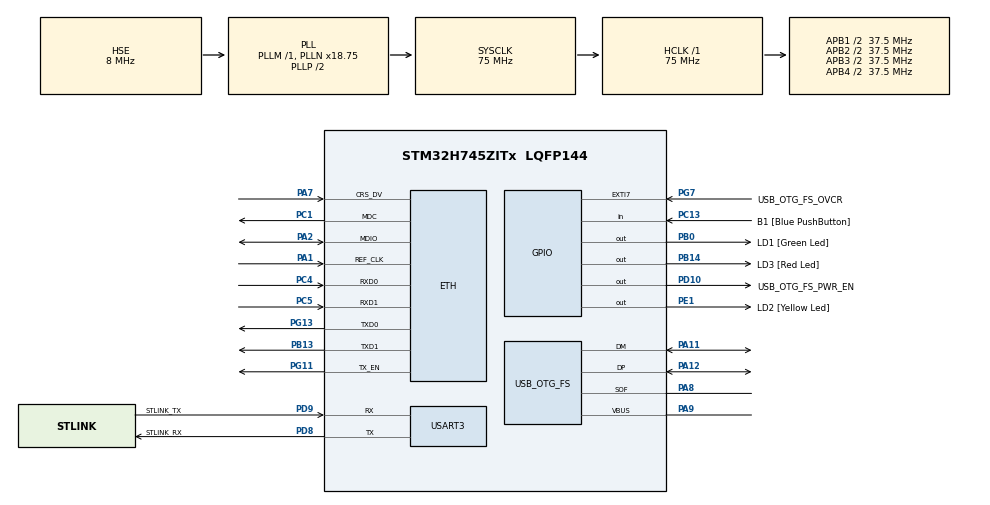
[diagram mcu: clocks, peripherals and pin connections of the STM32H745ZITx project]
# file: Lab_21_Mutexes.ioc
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CortexM4.IPs=FATFS_M4\:I,FREERTOS_M4\:I,IWDG2\:I,RCC,WWDG2\:I,DMA,BDMA,MDMA,NVIC2\:I,USART3,ETH,DEBUG,USB_DEVICE_M4\:I,USB_HOST_M4\:I,PDM2PCM_M4\:I,PWR,RESMGR_UTILITY,SYS_M4\:I,CORTEX_M4\:I,OPENAMP_M4\:I,VREFBUF,GPIO
CortexM7.IPs=FATFS_M7\:I,FREERTOS_M7\:I,IWDG1\:I,RCC\:I,WWDG1\:I,DMA\:I,BDMA\:I,MDMA\:I,NVIC1\:I,SYS\:I,USART3\:I,USB_OTG_FS\:I,ETH\:I,CORTEX_M7\:I,DEBUG\:I,USB_DEVICE_M7\:I,USB_HOST_M7\:I,PDM2PCM_M7\:I,PWR\:I,RESMGR_UTILITY\:I,OPENAMP_M7\:I,VREFBUF\:I,GPIO\:I,TIM4\:I
CortexM7.Pins=PB0
ETH.MediaInterface=HAL_ETH_RMII_MODE
FREERTOS_M7.Mutexes01=LED_Mutex,Dynamic,NULL
FREERTOS_M7.Tasks01=defaultTask,24,128,StartDefaultTask,Default,NULL,Dynamic,NULL,NULL;THREAD1,24,128,LED_Thread1,Default,NULL,Dynamic,NULL,NULL;THREAD2,8,128,LED_Thread2,Default,NULL,Dynamic,NULL,NULL
FREERTOS_M7.configUSE_NEWLIB_REENTRANT=1
Mcu.Family=STM32H7
Mcu.Name=STM32H745ZITx
Mcu.Package=LQFP144
NVIC1.PriorityGroup=NVIC_PRIORITYGROUP_4
NVIC1.TIM4_IRQn=true\:15\:0\:false\:false\:true\:false\:false\:true\:true
NVIC1.TimeBase=TIM4_IRQn
NVIC1.TimeBaseIP=TIM4
NVIC2.PriorityGroup=NVIC_PRIORITYGROUP_4
PA1.Mode=RMII
PA1.PinAttribute=CortexM7
PA1.Signal=ETH_REF_CLK
PA11.Mode=Device_Only
PA11.PinAttribute=CortexM7
PA11.Signal=USB_OTG_FS_DM
PA12.Mode=Device_Only
PA12.PinAttribute=CortexM7
PA12.Signal=USB_OTG_FS_DP
PA2.Mode=RMII
PA2.PinAttribute=CortexM7
PA2.Signal=ETH_MDIO
PA7.Mode=RMII
PA7.PinAttribute=CortexM7
PA7.Signal=ETH_CRS_DV
PA8.Mode=Activate_SOF_FS
PA8.PinAttribute=CortexM7
PA8.Signal=USB_OTG_FS_SOF
PA9.Mode=Activate_VBUS
PA9.PinAttribute=CortexM7
PA9.Signal=USB_OTG_FS_VBUS
PB0.GPIO_Label=LD1 [Green Led]
PB0.PinAttribute=CortexM7
PB0.Signal=GPIO_Output
PB13.Mode=RMII
PB13.PinAttribute=CortexM7
PB13.Signal=ETH_TXD1
PB14.GPIO_Label=LD3 [Red Led]
PB14.PinAttribute=Free
PB14.Signal=GPIO_Output
PC1.Mode=RMII
PC1.PinAttribute=CortexM7
PC1.Signal=ETH_MDC
PC13.GPIO_Label=B1 [Blue PushButton]
PC13.PinAttribute=Free
PC13.Signal=GPIO_Input
PC14-OSC32_IN\ (OSC32_IN).Mode=LSE-External-Oscillator
PC14-OSC32_IN\ (OSC32_IN).PinAttribute=CortexM7
PC14-OSC32_IN\ (OSC32_IN).Signal=RCC_OSC32_IN
PC15-OSC32_OUT\ (OSC32_OUT).Mode=LSE-External-Oscillator
PC15-OSC32_OUT\ (OSC32_OUT).PinAttribute=CortexM7
PC15-OSC32_OUT\ (OSC32_OUT).Signal=RCC_OSC32_OUT
PC4.Mode=RMII
PC4.PinAttribute=CortexM7
PC4.Signal=ETH_RXD0
PC5.Mode=RMII
PC5.PinAttribute=CortexM7
PC5.Signal=ETH_RXD1
PD10.GPIO_Label=USB_OTG_FS_PWR_EN
PD10.PinAttribute=Free
PD10.Signal=GPIO_Output
PD8.GPIO_Label=STLINK_RX
PD8.Mode=Asynchronous
PD8.PinAttribute=CortexM7
PD8.Signal=USART3_TX
PD9.GPIO_Label=STLINK_TX
PD9.Mode=Asynchronous
PD9.PinAttribute=CortexM7
PD9.Signal=USART3_RX
PE1.GPIO_Label=LD2 [Yellow Led]
PE1.PinAttribute=Free
PE1.Signal=GPIO_Output
PG11.Mode=RMII
PG11.PinAttribute=CortexM7
PG11.Signal=ETH_TX_EN
PG13.Mode=RMII
PG13.PinAttribute=CortexM7
PG13.Signal=ETH_TXD0
PG7.GPIO_Label=USB_OTG_FS_OVCR
PG7.PinAttribute=Free
PG7.Signal=GPXTI7
PH0-OSC_IN\ (PH0).Mode=HSE-External-Clock-Source
PH0-OSC_IN\ (PH0).PinAttribute=CortexM7
PH0-OSC_IN\ (PH0).Signal=RCC_OSC_IN
PH1-OSC_OUT\ (PH1).PinAttribute=CortexM7
PH1-OSC_OUT\ (PH1).Signal=RCC_OSC_OUT
ProjectManager.HeapSize=M4-0x200,M7-0x200
ProjectManager.StackSize=M4-0x400,M7-0x400
ProjectManager.TargetToolchain=STM32CubeIDE
RCC.ADCFreq_Value=16125000
RCC.APB1Freq_Value=37500000
RCC.APB2Freq_Value=37500000
RCC.APB3Freq_Value=37500000
RCC.APB4Freq_Value=37500000
RCC.CortexFreq_Value=75000000
RCC.D1PPRE=RCC_APB3_DIV2
RCC.D2PPRE1=RCC_APB1_DIV2
RCC.D2PPRE2=RCC_APB2_DIV2
RCC.D3PPRE=RCC_APB4_DIV2
RCC.DIVM1=1
RCC.DIVM3=1
RCC.DIVN1=18
RCC.DIVN3=18
RCC.DIVQ3=3
RCC.HCLKFreq_Value=75000000
RCC.HSE_VALUE=8000000
RCC.PLL2FRACN=0
RCC.PLL3FRACN=6144
RCC.PLLFRACN=6144
RCC.SYSCLKFreq_VALUE=75000000
RCC.SYSCLKSource=RCC_SYSCLKSOURCE_PLLCLK
RCC.SupplySource=PWR_DIRECT_SMPS_SUPPLY
RCC.USBCLockSelection=RCC_USBCLKSOURCE_PLL3
RCC.USBFreq_Value=50000000
USART3.VirtualMode-Asynchronous=VM_ASYNC
USB_OTG_FS.VirtualMode=Device_Only
VP_FREERTOS_M7_VS_CMSIS_V2.Mode=CMSIS_V2
VP_SYS_M4_VS_Systick.Mode=SysTick
VP_SYS_VS_tim4.Mode=TIM4
board=NUCLEO-H745ZI-Q

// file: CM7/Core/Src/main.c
/* USER CODE BEGIN Header */
/**
  ******************************************************************************
  * @file           : main.c
  * @brief          : Main program body
  ******************************************************************************
  * @attention
  *
  * Copyright (c) 2025 STMicroelectronics.
  * All rights reserved.
  *
  * This software is licensed under terms that can be found in the LICENSE file
  * in the root directory of this software component.
  * If no LICENSE file comes with this software, it is provided AS-IS.
  *
  ******************************************************************************
  */
/* USER CODE END Header */
#include "main.h"
#include "string.h"
#include "cmsis_os.h"

/* USER CODE BEGIN PD */

#ifndef HSEM_ID_0
#define HSEM_ID_0 (0U) /* HW semaphore 0*/
#endif
/* USER CODE END PD */

#if defined ( __ICCARM__ ) /*!< IAR Compiler */
#pragma location=0x30000000
ETH_DMADescTypeDef  DMARxDscrTab[ETH_RX_DESC_CNT]; /* Ethernet Rx DMA Descriptors */
#pragma location=0x30000200
ETH_DMADescTypeDef  DMATxDscrTab[ETH_TX_DESC_CNT]; /* Ethernet Tx DMA Descriptors */

#elif defined ( __CC_ARM )  /* MDK ARM Compiler */

__attribute__((at(0x30000000))) ETH_DMADescTypeDef  DMARxDscrTab[ETH_RX_DESC_CNT]; /* Ethernet Rx DMA Descriptors */
__attribute__((at(0x30000200))) ETH_DMADescTypeDef  DMATxDscrTab[ETH_TX_DESC_CNT]; /* Ethernet Tx DMA Descriptors */

#elif defined ( __GNUC__ ) /* GNU Compiler */
ETH_DMADescTypeDef DMARxDscrTab[ETH_RX_DESC_CNT] __attribute__((section(".RxDecripSection"))); /* Ethernet Rx DMA Descriptors */
ETH_DMADescTypeDef DMATxDscrTab[ETH_TX_DESC_CNT] __attribute__((section(".TxDecripSection")));   /* Ethernet Tx DMA Descriptors */

#endif

ETH_TxPacketConfig TxConfig;

ETH_HandleTypeDef heth;

UART_HandleTypeDef huart3;

PCD_HandleTypeDef hpcd_USB_OTG_FS;

/* Definitions for defaultTask */
osThreadId_t defaultTaskHandle;
const osThreadAttr_t defaultTask_attributes = {
  .name = "defaultTask",
  .stack_size = 128 * 4,
  .priority = (osPriority_t) osPriorityNormal,
};
/* Definitions for THREAD1 */
osThreadId_t THREAD1Handle;
const osThreadAttr_t THREAD1_attributes = {
  .name = "THREAD1",
  .stack_size = 128 * 4,
  .priority = (osPriority_t) osPriorityNormal,
};
/* Definitions for THREAD2 */
osThreadId_t THREAD2Handle;
const osThreadAttr_t THREAD2_attributes = {
  .name = "THREAD2",
  .stack_size = 128 * 4,
  .priority = (osPriority_t) osPriorityLow,
};
/* Definitions for LED_Mutex */
osMutexId_t LED_MutexHandle;
const osMutexAttr_t LED_Mutex_attributes = {
  .name = "LED_Mutex"
};

void SystemClock_Config(void);
static void MX_GPIO_Init(void);
static void MX_ETH_Init(void);
static void MX_USART3_UART_Init(void);
static void MX_USB_OTG_FS_PCD_Init(void);
void StartDefaultTask(void *argument);
void LED_Thread1(void *argument);
void LED_Thread2(void *argument);

int main(void)
{
/* USER CODE BEGIN Boot_Mode_Sequence_0 */
  int32_t timeout;
/* USER CODE END Boot_Mode_Sequence_0 */

/* USER CODE BEGIN Boot_Mode_Sequence_1 */
  /* Wait until CPU2 boots and enters in stop mode or timeout*/
  timeout = 0xFFFF;
  while((__HAL_RCC_GET_FLAG(RCC_FLAG_D2CKRDY) != RESET) && (timeout-- > 0));
  if ( timeout < 0 )
  {
  Error_Handler();
  }
/* USER CODE END Boot_Mode_Sequence_1 */
  /* MCU Configuration--------------------------------------------------------*/

  /* Reset of all peripherals, Initializes the Flash interface and the Systick. */
  HAL_Init();

  /* Configure the system clock */
  SystemClock_Config();
/* USER CODE BEGIN Boot_Mode_Sequence_2 */
/* When system initialization is finished, Cortex-M7 will release Cortex-M4 by means of
HSEM notification */
/*HW semaphore Clock enable*/
__HAL_RCC_HSEM_CLK_ENABLE();
/*Take HSEM */
HAL_HSEM_FastTake(HSEM_ID_0);
/*Release HSEM in order to notify the CPU2(CM4)*/
HAL_HSEM_Release(HSEM_ID_0,0);
/* wait until CPU2 wakes up from stop mode */
timeout = 0xFFFF;
while((__HAL_RCC_GET_FLAG(RCC_FLAG_D2CKRDY) == RESET) && (timeout-- > 0));
if ( timeout < 0 )
{
Error_Handler();
}
/* USER CODE END Boot_Mode_Sequence_2 */

  /* Initialize all configured peripherals */
  MX_GPIO_Init();
  MX_ETH_Init();
  MX_USART3_UART_Init();
  MX_USB_OTG_FS_PCD_Init();

  /* Init scheduler */
  osKernelInitialize();
  /* Create the mutex(es) */
  /* creation of LED_Mutex */
  LED_MutexHandle = osMutexNew(&LED_Mutex_attributes);

  /* Create the thread(s) */
  /* creation of defaultTask */
  defaultTaskHandle = osThreadNew(StartDefaultTask, NULL, &defaultTask_attributes);

  /* creation of THREAD1 */
  THREAD1Handle = osThreadNew(LED_Thread1, NULL, &THREAD1_attributes);

  /* creation of THREAD2 */
  THREAD2Handle = osThreadNew(LED_Thread2, NULL, &THREAD2_attributes);

  /* Start scheduler */
  osKernelStart();

  /* We should never get here as control is now taken by the scheduler */
  /* Infinite loop */
  while (1)
  {

  }
}

void SystemClock_Config(void)
{
  RCC_OscInitTypeDef RCC_OscInitStruct = {0};
  RCC_ClkInitTypeDef RCC_ClkInitStruct = {0};

  /** Supply configuration update enable
  */
  HAL_PWREx_ConfigSupply(PWR_DIRECT_SMPS_SUPPLY);

  /** Configure the main internal regulator output voltage
  */
  __HAL_PWR_VOLTAGESCALING_CONFIG(PWR_REGULATOR_VOLTAGE_SCALE3);

  while(!__HAL_PWR_GET_FLAG(PWR_FLAG_VOSRDY)) {}

  /** Macro to configure the PLL clock source
  */
  __HAL_RCC_PLL_PLLSOURCE_CONFIG(RCC_PLLSOURCE_HSE);

  /** Initializes the RCC Oscillators according to the specified parameters
  * in the RCC_OscInitTypeDef structure.
  */
  RCC_OscInitStruct.OscillatorType = RCC_OSCILLATORTYPE_HSE;
  RCC_OscInitStruct.HSEState = RCC_HSE_BYPASS;
  RCC_OscInitStruct.PLL.PLLState = RCC_PLL_ON;
  RCC_OscInitStruct.PLL.PLLSource = RCC_PLLSOURCE_HSE;
  RCC_OscInitStruct.PLL.PLLM = 1;
  RCC_OscInitStruct.PLL.PLLN = 18;
  RCC_OscInitStruct.PLL.PLLP = 2;
  RCC_OscInitStruct.PLL.PLLQ = 2;
  RCC_OscInitStruct.PLL.PLLR = 2;
  RCC_OscInitStruct.PLL.PLLRGE = RCC_PLL1VCIRANGE_3;
  RCC_OscInitStruct.PLL.PLLVCOSEL = RCC_PLL1VCOMEDIUM;
  RCC_OscInitStruct.PLL.PLLFRACN = 6144;
  if (HAL_RCC_OscConfig(&RCC_OscInitStruct) != HAL_OK)
  {
    Error_Handler();
  }

  /** Initializes the CPU, AHB and APB buses clocks
  */
  RCC_ClkInitStruct.ClockType = RCC_CLOCKTYPE_HCLK|RCC_CLOCKTYPE_SYSCLK
                              |RCC_CLOCKTYPE_PCLK1|RCC_CLOCKTYPE_PCLK2
                              |RCC_CLOCKTYPE_D3PCLK1|RCC_CLOCKTYPE_D1PCLK1;
  RCC_ClkInitStruct.SYSCLKSource = RCC_SYSCLKSOURCE_PLLCLK;
  RCC_ClkInitStruct.SYSCLKDivider = RCC_SYSCLK_DIV1;
  RCC_ClkInitStruct.AHBCLKDivider = RCC_HCLK_DIV1;
  RCC_ClkInitStruct.APB3CLKDivider = RCC_APB3_DIV2;
  RCC_ClkInitStruct.APB1CLKDivider = RCC_APB1_DIV2;
  RCC_ClkInitStruct.APB2CLKDivider = RCC_APB2_DIV2;
  RCC_ClkInitStruct.APB4CLKDivider = RCC_APB4_DIV2;

  if (HAL_RCC_ClockConfig(&RCC_ClkInitStruct, FLASH_LATENCY_1) != HAL_OK)
  {
    Error_Handler();
  }
}

static void MX_ETH_Init(void)
{

   static uint8_t MACAddr[6];

  heth.Instance = ETH;
  MACAddr[0] = 0x00;
  MACAddr[1] = 0x80;
  MACAddr[2] = 0xE1;
  MACAddr[3] = 0x00;
  MACAddr[4] = 0x00;
  MACAddr[5] = 0x00;
  heth.Init.MACAddr = &MACAddr[0];
  heth.Init.MediaInterface = HAL_ETH_RMII_MODE;
  heth.Init.TxDesc = DMATxDscrTab;
  heth.Init.RxDesc = DMARxDscrTab;
  heth.Init.RxBuffLen = 1524;

  if (HAL_ETH_Init(&heth) != HAL_OK)
  {
    Error_Handler();
  }

  memset(&TxConfig, 0 , sizeof(ETH_TxPacketConfig));
  TxConfig.Attributes = ETH_TX_PACKETS_FEATURES_CSUM | ETH_TX_PACKETS_FEATURES_CRCPAD;
  TxConfig.ChecksumCtrl = ETH_CHECKSUM_IPHDR_PAYLOAD_INSERT_PHDR_CALC;
  TxConfig.CRCPadCtrl = ETH_CRC_PAD_INSERT;

}

static void MX_USART3_UART_Init(void)
{

  huart3.Instance = USART3;
  huart3.Init.BaudRate = 115200;
  huart3.Init.WordLength = UART_WORDLENGTH_8B;
  huart3.Init.StopBits = UART_STOPBITS_1;
  huart3.Init.Parity = UART_PARITY_NONE;
  huart3.Init.Mode = UART_MODE_TX_RX;
  huart3.Init.HwFlowCtl = UART_HWCONTROL_NONE;
  huart3.Init.OverSampling = UART_OVERSAMPLING_16;
  huart3.Init.OneBitSampling = UART_ONE_BIT_SAMPLE_DISABLE;
  huart3.Init.ClockPrescaler = UART_PRESCALER_DIV1;
  huart3.AdvancedInit.AdvFeatureInit = UART_ADVFEATURE_NO_INIT;
  if (HAL_UART_Init(&huart3) != HAL_OK)
  {
    Error_Handler();
  }
  if (HAL_UARTEx_SetTxFifoThreshold(&huart3, UART_TXFIFO_THRESHOLD_1_8) != HAL_OK)
  {
    Error_Handler();
  }
  if (HAL_UARTEx_SetRxFifoThreshold(&huart3, UART_RXFIFO_THRESHOLD_1_8) != HAL_OK)
  {
    Error_Handler();
  }
  if (HAL_UARTEx_DisableFifoMode(&huart3) != HAL_OK)
  {
    Error_Handler();
  }

}

static void MX_USB_OTG_FS_PCD_Init(void)
{

  hpcd_USB_OTG_FS.Instance = USB_OTG_FS;
  hpcd_USB_OTG_FS.Init.dev_endpoints = 9;
  hpcd_USB_OTG_FS.Init.speed = PCD_SPEED_FULL;
  hpcd_USB_OTG_FS.Init.dma_enable = DISABLE;
  hpcd_USB_OTG_FS.Init.phy_itface = PCD_PHY_EMBEDDED;
  hpcd_USB_OTG_FS.Init.Sof_enable = DISABLE;
  hpcd_USB_OTG_FS.Init.low_power_enable = DISABLE;
  hpcd_USB_OTG_FS.Init.lpm_enable = DISABLE;
  hpcd_USB_OTG_FS.Init.battery_charging_enable = ENABLE;
  hpcd_USB_OTG_FS.Init.vbus_sensing_enable = ENABLE;
  hpcd_USB_OTG_FS.Init.use_dedicated_ep1 = DISABLE;
  if (HAL_PCD_Init(&hpcd_USB_OTG_FS) != HAL_OK)
  {
    Error_Handler();
  }

}

static void MX_GPIO_Init(void)
{
  GPIO_InitTypeDef GPIO_InitStruct = {0};

  /* GPIO Ports Clock Enable */
  __HAL_RCC_GPIOC_CLK_ENABLE();
  __HAL_RCC_GPIOH_CLK_ENABLE();
  __HAL_RCC_GPIOA_CLK_ENABLE();
  __HAL_RCC_GPIOB_CLK_ENABLE();
  __HAL_RCC_GPIOD_CLK_ENABLE();
  __HAL_RCC_GPIOG_CLK_ENABLE();

  /*Configure GPIO pin Output Level */
  HAL_GPIO_WritePin(LD1_GPIO_Port, LD1_Pin, GPIO_PIN_RESET);

  /*Configure GPIO pin : LD1_Pin */
  GPIO_InitStruct.Pin = LD1_Pin;
  GPIO_InitStruct.Mode = GPIO_MODE_OUTPUT_PP;
  GPIO_InitStruct.Pull = GPIO_NOPULL;
  GPIO_InitStruct.Speed = GPIO_SPEED_FREQ_LOW;
  HAL_GPIO_Init(LD1_GPIO_Port, &GPIO_InitStruct);

}

void StartDefaultTask(void *argument)
{
  for(;;)
  {
    osDelay(1);
  }
}

void LED_Thread1(void *argument)
{
  /* USER CODE BEGIN 5 */
  uint32_t count = 0;
  (void) argument;

  /* Infinite loop */
  for(;;)
  {
    osMutexAcquire(LED_MutexHandle, osWaitForever);

    count = osKernelGetTickCount() + 3000;

    /* Toggle LED1 every 200 ms for 5 s */
    while (count > osKernelGetTickCount())
    {
      HAL_GPIO_TogglePin(LD1_GPIO_Port, LD1_Pin);

      osDelay(200);
    }

    osMutexRelease(LED_MutexHandle);

    osDelay(1);
  }
  /* USER CODE END 5 */
}

void LED_Thread2(void *argument)
{
  /* USER CODE BEGIN LED_Thread2 */
  uint32_t count = 0;
  (void) argument;

  /* Infinite loop */
  for(;;)
  {
    osMutexAcquire(LED_MutexHandle, osWaitForever);

    count = osKernelGetTickCount() + 3000;

    /* Toggle LED1 every 500 ms for 5 s */
    while (count > osKernelGetTickCount())
    {
      HAL_GPIO_TogglePin(LD1_GPIO_Port, LD1_Pin);

      osDelay(500);
    }

    osMutexRelease(LED_MutexHandle);

    osDelay(1);
  }
  /* USER CODE END LED_Thread2 */
}

void HAL_TIM_PeriodElapsedCallback(TIM_HandleTypeDef *htim)
{
  if (htim->Instance == TIM4) {
    HAL_IncTick();
  }
}

void Error_Handler(void)
{
  __disable_irq();
  while (1)
  {
  }
}
